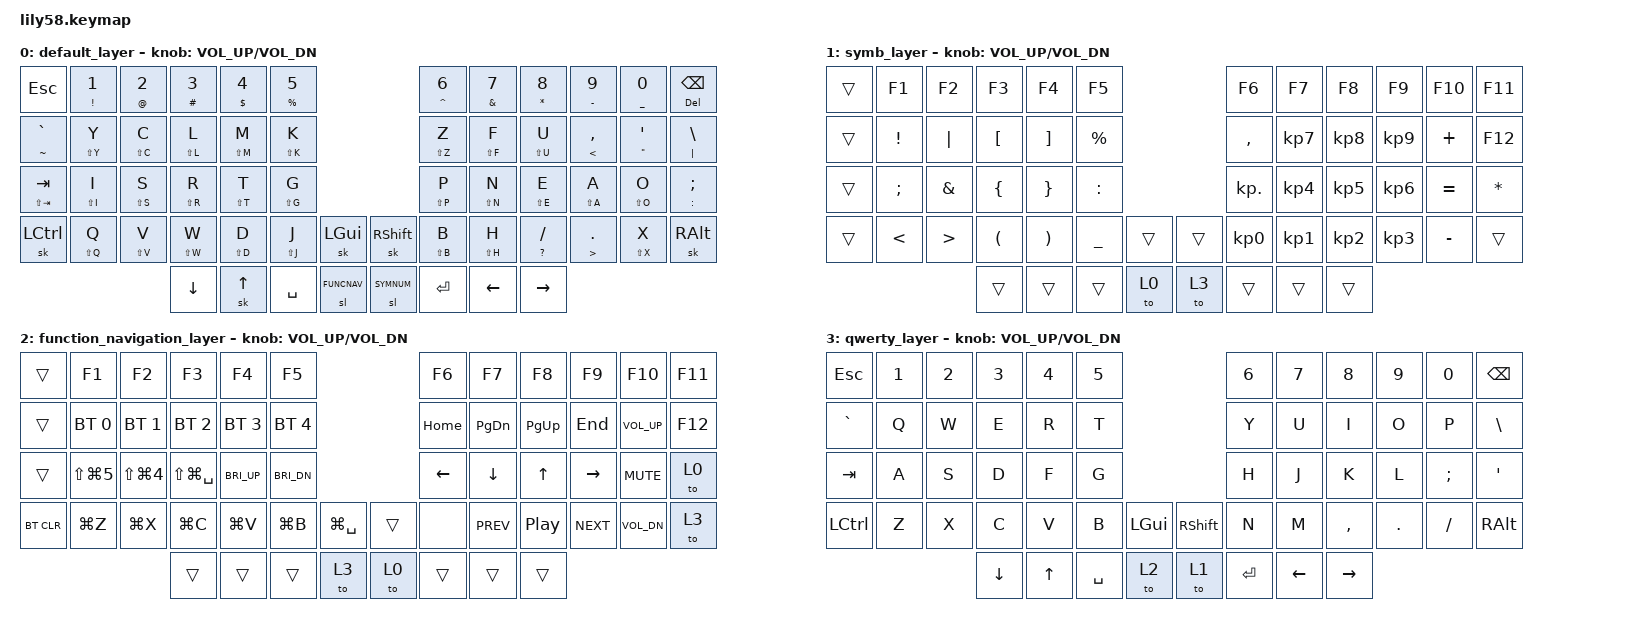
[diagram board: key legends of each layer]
/*
 * Copyright (c) 2020 The ZMK Contributors
 *
 * SPDX-License-Identifier: MIT
 */

#include <behaviors.dtsi>
#include <dt-bindings/zmk/bt.h>
#include <dt-bindings/zmk/keys.h>

#define ISRT 0
#define SYMNUM  1
#define FUNCNAV 2
#define QWERTY  3

/ {
    behaviors {
        skq: sticky_key_quick_release {
            compatible = "zmk,behavior-sticky-key";
            label = "STICKY_KEY_QUICK_RELEASE";
            #binding-cells = <1>;
            bindings = <&kp>;
            release-after-ms = <1000>;
            quick-release;
        };
        gqt: global-quick-tap {
            compatible = "zmk,behavior-hold-tap";
            label = "GLOBAL_QUICK_TAP";
            #binding-cells = <2>;
            flavor = "tap-preferred";
            tapping-term-ms = <200>;
            quick-tap-ms = <125>;
            global-quick-tap;
            bindings =
                <&kp>,
                <&kp>;
        };
    };

    keymap {
        compatible = "zmk,keymap";

        default_layer {
            // ------------------------------------------------------------------------------------------------------------
            // |  ESC  |  1  |  2  |  3   |  4    |   5  |                  |  6   |  7    |  8    |  9   |   0   |   -   |
            // |SFT_TAB|  Y  |  C  |  L   |  M    |   K  |                  |  Z   |  F    |  U    |  ,   |   '   |   \   |
            // |  TAB  |CTL-I|OPT-S|SFT-R | CMD-T |   G  |                  |  P   | CMD-N | SFT-E |OPT-A | CTL-O |   ;   |
            // |   `   |  Q  |  V  |  W   |  D    |   J  |  TO0  |  | TO3   |  B   |  H    |  /    |  .   |   X   |   :   |
            //                     |WRD_SH|  GUI  | SPC  | SL 2  |  | SL 1  | ENT  | BSPC  |  DEL  |

            bindings = <
&kp ESC           &gqt EXCL N1  &gqt AT N2    &gqt HASH N3    &gqt DOLLAR N4  &gqt PERCENT N5                             &gqt CARET N6  &gqt AMPS N7  &gqt ASTRK N8    &gqt MINUS N9             &gqt UNDER N0            &gqt DEL BACKSPACE
&gqt TILDE GRAVE  &gqt LS(Y) Y  &gqt LS(C) C  &gqt LS(L) L    &gqt LS(M) M    &gqt LS(K) K                                &gqt LS(Z) Z   &gqt LS(F) F  &gqt LS(U) U     &gqt LESS_THAN COMMA      &gqt DOUBLE_QUOTES APOS  &gqt PIPE BSLH
&gqt LS(TAB) TAB  &gqt LS(I) I  &gqt LS(S) S  &gqt LS(R) R    &gqt LS(T) T    &gqt LS(G) G                                &gqt LS(P) P   &gqt LS(N) N  &gqt LS(E) E     &gqt LS(A) A              &gqt LS(O) O             &gqt COLON SEMICOLON
&sk LCTRL         &gqt LS(Q) Q  &gqt LS(V) V  &gqt LS(W) W    &gqt LS(D) D    &gqt LS(J) J     &sk LGUI       &sk RSHFT   &gqt LS(B) B   &gqt LS(H) H  &gqt QMARK FSLH  &gqt GREATER_THAN PERIOD  &gqt LS(X) X             &sk RALT
                                              &kp DOWN_ARROW  &sk UP_ARROW    &kp SPACE        &sl FUNCNAV    &sl SYMNUM  &kp RET        &kp LEFT      &kp RIGHT
            >;

            sensor-bindings = <&inc_dec_kp C_VOL_UP C_VOL_DN>;
        };

        symb_layer {
            // --------------------------------------------------------------------------------------------------------------------
            // | TRANS |  1  |  2  |   3   |   4   |   5   |                       |   6   |   7   |   8   |   9  |   0   |   -   |
            // | TRANS |  !  |  @  |   #   |   $   |   %   |        	    	       |   ,   |  N7   |  N8   |  N9  |   +   |   /   |
            // |   ^   |  <  |  [  |   {   |   (   |   &   |          	           |   .   |  N4   |  N5   |  N6  |   =   |   *   |
            // |   ~   |  >  |  ]  |   }   |   )   |  "|"  |   TRANS  |  |   TRANS |   N0  |  N1   |  N2   |  N3  |   -   |   _   |
            //                     | TRANS | TRANS |  TAB  |   TRANS  |  |   TRANS | TRANS | TRANS | TRANS |

            bindings = <
&trans  &kp F1         &kp F2            &kp F3                &kp F4             &kp F5                            &kp F6      &kp F7     &kp F8     &kp F9     &kp F10    &kp F11
&trans  &kp EXCL       &kp PIPE          &kp LEFT_BRACKET      &kp RIGHT_BRACKET  &kp PRCNT                         &kp COMMA   &kp KP_N7  &kp KP_N8  &kp KP_N9  &kp PLUS   &kp F12
&trans  &kp SEMICOLON  &kp AMPERSAND     &kp LBRC              &kp RIGHT_BRACE    &kp COLON                         &kp KP_DOT  &kp KP_N4  &kp KP_N5  &kp KP_N6  &kp EQUAL  &kp ASTRK
&trans  &kp LESS_THAN  &kp GREATER_THAN  &kp LEFT_PARENTHESIS  &kp RPAR           &kp UNDERSCORE  &trans    &trans  &kp KP_N0   &kp KP_N1  &kp KP_N2  &kp KP_N3  &kp MINUS  &trans
                                         &trans                &trans             &trans          &to 0     &to 3   &trans      &trans     &trans
            >;

            sensor-bindings = <&inc_dec_kp C_VOL_UP C_VOL_DN>;
        };

        function_navigation_layer {
            // ------------------------------------------------------------------------------------------------------------
            // | TRANS  |   F1  |  F2   |  F3     |  F4    |  F5    |                  |  F6    |  F7    |  F8    | F9     | F10      | F11  |
            // | TRANS  | BT 0  | BT 1  | BT 2    | BT 3   | BT 4   |                  | HOME   | PGDN   | PGUP   | END    | INS      | F12  |
            // | TRANS  | RSG_5 | RSG_4 | RSG_SPC | SCR_UP | SCR_DN |                  | LEFT   |  DOWN  |   UP   | RIGHT  | VOL_MUTE | META |
            // | BT CLR | CMD_Z | CMD_X | CMD_C   | CMD_V  | CMD_B  |  TO0  |  |   TO3 | C_PREV |  PlPa  | C_NEXT | VOL_DN | VOL_UP   | HYPR |
            //                          | TRANS   | TRANS  | TRANS  |  SL 2 |  | TRANS | TRANS   | TRANS | TRANS  |

            bindings = <
&trans      &kp F1          &kp F2          &kp F3             &kp F4        &kp F5                                 &kp F6    &kp F7      &kp F8       &kp F9      &kp F10       &kp F11
&trans      &bt BT_SEL 0    &bt BT_SEL 1    &bt BT_SEL 2       &bt BT_SEL 3  &bt BT_SEL 4                           &kp HOME  &kp PG_DN   &kp PAGE_UP  &kp END     &kp C_VOL_UP  &kp F12
&trans      &kp LS(LG(N5))  &kp LS(LG(N4))  &kp LS(LG(SPACE))  &kp C_BRI_UP  &kp C_BRI_DN                           &kp LEFT  &kp DOWN    &kp UP       &kp RIGHT   &kp C_MUTE    &to 0
&bt BT_CLR  &kp LG(Z)       &kp LG(X)       &kp LG(C)          &kp LG(V)     &kp LG(B)     &kp LG(SPACE)    &trans  &none     &kp C_PREV  &kp C_PP     &kp C_NEXT  &kp C_VOL_DN  &to 3
                                            &trans             &trans        &trans        &to 3            &to 0   &trans    &trans      &trans
            >;

            sensor-bindings = <&inc_dec_kp C_VOL_UP C_VOL_DN>;
        };

        qwerty_layer {
            // ------------------------------------------------------------------------------------------------------------
            // |  ESC  |  1  |  2  |  3   |   4   |  5   |                  |  6   |  7    |  8    |  9   |   0   |   -   |
            // | SF_TAB|  Q  |  W  |  E   |   R   |  T   |                  |  Y   |  U    |  I    |  O   |   P   |   \   |
            // |  TAB  |  A  |  S  |  D   |   F   |  G   |                  |  H   |  J    |  K    |  L   |   ;   |   '   |
            // |   `   |  Z  |  X  |  C   |   V   |  B   |  TO0  |  | TO3   |  N   |  M    |  ,    |  .   |   /   |  "|"  |
            //                     | BSPC |  GUI  | SPC  | SL 2  |  | SL 1  | RET  |WRD_SFT|  DEL  |

            bindings = <
&kp ESC    &kp N1  &kp N2  &kp N3    &kp N4  &kp N5                                &kp N6   &kp N7    &kp N8     &kp N9   &kp N0    &kp BACKSPACE
&kp GRAVE  &kp Q   &kp W   &kp E     &kp R   &kp T                                 &kp Y    &kp U     &kp I      &kp O    &kp P     &kp BSLH
&kp TAB    &kp A   &kp S   &kp D     &kp F   &kp G                                 &kp H    &kp J     &kp K      &kp L    &kp SEMI  &kp SQT
&kp LCTRL  &kp Z   &kp X   &kp C     &kp V   &kp B      &kp LEFT_GUI    &kp RSHFT  &kp N    &kp M     &kp COMMA  &kp DOT  &kp FSLH  &kp RALT
                           &kp DOWN  &kp UP  &kp SPACE  &to 2           &to 1      &kp RET  &kp LEFT  &kp RIGHT
            >;

            sensor-bindings = <&inc_dec_kp C_VOL_UP C_VOL_DN>;
        };
    };
};
